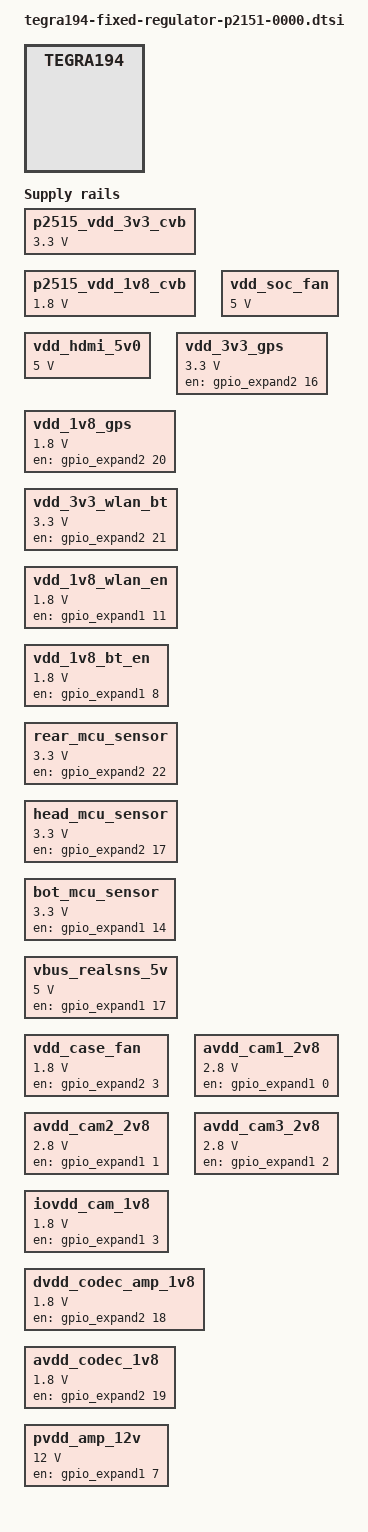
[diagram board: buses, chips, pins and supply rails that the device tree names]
/*
 * Copyright (c) 2019, NVIDIA CORPORATION.  All rights reserved.
 *
 * This program is free software; you can redistribute it and/or modify
 * it under the terms of the GNU General Public License as published by
 * the Free Software Foundation; either version 2 of the License, or
 * (at your option) any later version.
 *
 * This program is distributed in the hope that it will be useful, but WITHOUT
 * ANY WARRANTY; without even the implied warranty of MERCHANTABILITY or
 * FITNESS FOR A PARTICULAR PURPOSE.  See the GNU General Public License for
 * more details.
 */

#include <dt-bindings/gpio/tegra194-gpio.h>

/ {
	fixed-regulators {
		p2515_vdd_3v3_cvb: regulator@101 {
			compatible = "regulator-fixed";
			reg = <101>;
			regulator-name = "vdd-3v3-cvb";
			regulator-min-microvolt = <3300000>;
			regulator-max-microvolt = <3300000>;
		};

		p2515_vdd_1v8_cvb: regulator@102 {
			compatible = "regulator-fixed";
			reg = <102>;
			regulator-name = "vdd-1v8-cvb";
			regulator-min-microvolt = <1800000>;
			regulator-max-microvolt = <1800000>;
		};

		vdd_soc_fan: regulator@111 {
			compatible = "regulator-fixed";
			reg = <111>;
			regulator-name = "vdd-soc-fan";
			regulator-min-microvolt = <5000000>;
			regulator-max-microvolt = <5000000>;
		};

		/* SOC_PWR_REQ->MOD_SLEEP->VDD_3V3_HDMI->VDD_5V0_HDMI_CN */
		vdd_hdmi_5v0: regulator@112 {
			compatible = "regulator-fixed";
			reg = <112>;
			regulator-name = "vdd-hdmi-5v0";
			regulator-min-microvolt = <5000000>;
			regulator-max-microvolt = <5000000>;
			enable-active-high;
		};

		vdd_3v3_gps: reulator@21 {
			compatible = "regulator-fixed";
			reg = <21>;
			regulator-name = "vdd-3v3-gps";
			regulator-min-microvolt = <3300000>;
			regulator-max-microvolt = <3300000>;
			gpio = <&gpio_expand2 16 GPIO_ACTIVE_HIGH>;
			enable-active-high;
		};

		vdd_1v8_gps: reulator@22 {
			compatible = "regulator-fixed";
			reg = <22>;
			regulator-name = "vdd-1v8-gps";
			regulator-min-microvolt = <1800000>;
			regulator-max-microvolt = <1800000>;
			gpio = <&gpio_expand2 20 GPIO_ACTIVE_HIGH>;
			enable-active-high;
		};

		// realtek wifi and bluetooth vbus
		vdd_3v3_wlan_bt: reulator@35 {
			compatible = "regulator-fixed";
			reg = <35>;
			regulator-name = "vdd-3v3-wlan-bt";
			regulator-min-microvolt = <3300000>;
			regulator-max-microvolt = <3300000>;
			gpio = <&gpio_expand2 21 GPIO_ACTIVE_HIGH>;
			enable-active-high;
		};

		// INVALID, bcmdhd_wlan
		vdd_1v8_wlan_en: reulator@36 {
			compatible = "regulator-fixed";
			reg = <36>;
			regulator-name = "vdd-1v8-wlan-en";
			regulator-min-microvolt = <1800000>;
			regulator-max-microvolt = <1800000>;
			gpio = <&gpio_expand1 11  GPIO_ACTIVE_HIGH>;
			enable-active-high;
		};

		// INVALID, bcmdhd_wlan
		vdd_1v8_bt_en: reulator@37 {
			compatible = "regulator-fixed";
			reg = <37>;
			regulator-name = "vdd-1v8-bt-en";
			regulator-min-microvolt = <1800000>;
			regulator-max-microvolt = <1800000>;
			gpio = <&gpio_expand1 8 GPIO_ACTIVE_HIGH>;
			enable-active-high;
		};

		rear_mcu_sensor: reulator@25 {
			compatible = "regulator-fixed";
			reg = <25>;
			regulator-name = "rear-mcu-sensor";
			regulator-min-microvolt = <3300000>;
			regulator-max-microvolt = <3300000>;
			gpio = <&gpio_expand2 22 GPIO_ACTIVE_HIGH>;
			enable-active-high;
		};
		head_mcu_sensor: reulator@26 {
			compatible = "regulator-fixed";
			reg = <26>;
			regulator-name = "head-mcu-sensor";
			regulator-min-microvolt = <3300000>;
			regulator-max-microvolt = <3300000>;
			gpio = <&gpio_expand2 17 GPIO_ACTIVE_HIGH>;
			enable-active-high;
		};

		bot_mcu_sensor: reulator@27 {
			compatible = "regulator-fixed";
			reg = <27>;
			regulator-name = "bot-mcu-sensor";
			regulator-min-microvolt = <3300000>;
			regulator-max-microvolt = <3300000>;
			gpio = <&gpio_expand1 14 GPIO_ACTIVE_HIGH>;
			enable-active-high;
		};

		vbus_realsns_5v: reulator@28 {
			compatible = "regulator-fixed";
			reg = <28>;
			regulator-name = "vbus-realsns-5v";
			regulator-min-microvolt = <5000000>;
			regulator-max-microvolt = <5000000>;
			gpio = <&gpio_expand1 17 GPIO_ACTIVE_HIGH>;
			enable-active-high;
		};

		vdd_case_fan: regulator@30 {
			compatible = "regulator-fixed";
			reg = <30>;
			regulator-name = "vdd-case-fan";
			regulator-min-microvolt = <1800000>;
			regulator-max-microvolt = <1800000>;
			gpio = <&gpio_expand2 3 GPIO_ACTIVE_HIGH>;
			enable-active-high;
		};

		avdd_cam1_2v8: regulator@41 {
			compatible = "regulator-fixed";
			reg= <41>;
			regulator-name = "avdd-cam1-2v8";
			regulator-min-microvolt = <2800000>;
			regulator-max-microvolt = <2800000>;
			gpio = <&gpio_expand1 0 GPIO_ACTIVE_HIGH>;
			enable-active-high;
		};

		avdd_cam2_2v8: regulator@42 {
			compatible = "regulator-fixed";
			reg= <42>;
			regulator-name = "avdd-cam2-2v8";
			regulator-min-microvolt = <2800000>;
			regulator-max-microvolt = <2800000>;
			gpio = <&gpio_expand1 1 GPIO_ACTIVE_HIGH>;
			enable-active-high;
		};

		avdd_cam3_2v8: regulator@43 {
			compatible = "regulator-fixed";
			reg= <43>;
			regulator-name = "avdd-cam3-2v8";
			regulator-min-microvolt = <2800000>;
			regulator-max-microvolt = <2800000>;
			gpio = <&gpio_expand1 2 GPIO_ACTIVE_HIGH>;
			enable-active-high;
		};

		iovdd_cam_1v8: regulator@44{
			compatible = "regulator-fixed";
			reg= <44>;
			regulator-name = "iovdd-cam-1v8";
			regulator-min-microvolt = <1800000>;
			regulator-max-microvolt = <1800000>;
			gpio = <&gpio_expand1 3 GPIO_ACTIVE_HIGH>;
			enable-active-high;
		};

		dvdd_codec_amp_1v8: regulator@50{
			compatible = "regulator-fixed";
			reg= <50>;
			regulator-name = "dvdd-codec-amp-1v8";
			regulator-min-microvolt = <1800000>;
			regulator-max-microvolt = <1800000>;
			gpio = <&gpio_expand2 18 GPIO_ACTIVE_HIGH>;
			enable-active-high;
		};

		avdd_codec_1v8: regulator@51{
			compatible = "regulator-fixed";
			reg= <51>;
			regulator-name = "avdd-codec-1v8";
			regulator-min-microvolt = <1800000>;
			regulator-max-microvolt = <1800000>;
			gpio = <&gpio_expand2 19 GPIO_ACTIVE_HIGH>;
			enable-active-high;
		};

		pvdd_amp_12v: regulator@52{
			compatible = "regulator-fixed";
			reg= <52>;
			regulator-name = "pvdd-amp-12v";
			regulator-min-microvolt = <12000000>;
			regulator-max-microvolt = <12000000>;
			gpio = <&gpio_expand1 7 GPIO_ACTIVE_HIGH>;
			enable-active-high;
		};
	};
};
